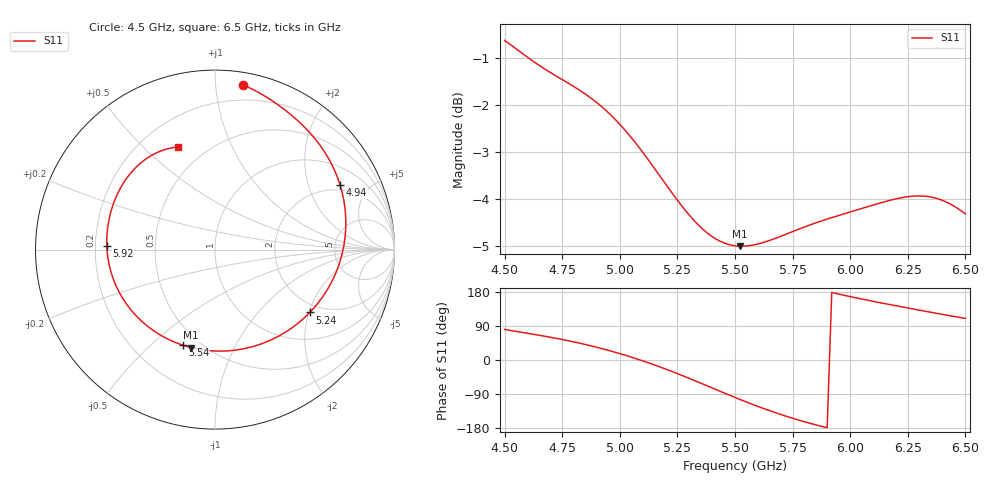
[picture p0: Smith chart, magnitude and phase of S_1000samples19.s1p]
! TOUCHSTONE file generated by CST MICROWAVE STUDIO
! Date and time: Wed Oct 26 17:24:18 2022
! Project name: L.cst
! Parameters = {Di=1.27; Epsilon_r=1.56; InnerDiameter=1.27; Length=2; Lf=10; Lg=60; OuterConductorThickness=0.2921; OuterDiameter=3.6; Wf=3; Wp=41.2; de=1.5; df=6.8; g=0.8; gx=4.74422; gy=1.73643; h=2.34; hf=1.524; px=13.6549; py=11.3673; w=9.7; wx=8.91071; wy=9.63084}
! Header version: 2018
! Port assignment regex: !\s*Touchstone port\s*([0-9]+)\s*=\s*(CST MWS port|CST DS port)\s*([0-9]+|Zmin|Zmax)\s*\(\"(.*)\"\)(\s*mode\s*([0-9]+))?.*
! Touchstone port assignment:
! Touchstone port 1 = CST MWS port 1 ("")
# GHz S DB R 50
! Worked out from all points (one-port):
!   101 points, 4.5 GHz to 6.5 GHz, reference 50 ohm
!   lowest |S11| = -5.0 dB at 5.52 GHz (marker M1), VSWR 3.57, Z = 21.6 - j34.5 ohm
!   |S11| at or under -10 dB: nowhere
!   S11 on the Smith chart (normalised r, x): 4.5 GHz: 0.09, +1.18; 4.94 GHz: 1.76, +3.26; 5.24 GHz: 1.73, -2.03; 5.54 GHz: 0.41, -0.64; 5.92 GHz: 0.25, +0.01; 6.5 GHz: 0.35, +0.64
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4.5  -0.62 80.5
4.64  -1.12 66.3
4.76  -1.48 52.9
4.86  -1.80 39.5
4.94  -2.11 27.2
5  -2.41 16.8
5.06  -2.75 5.6
5.12  -3.14 -6.6
5.18  -3.55 -19.7
5.24  -3.96 -33.5
5.26  -4.09 -38.3
5.32  -4.44 -53.1
5.38  -4.72 -68.3
5.44  -4.91 -83.7
5.5  -4.99 -98.8
5.52  -5.00 -103.7
5.54  -5.00 -108.6
5.6  -4.96 -122.6
5.66  -4.86 -135.8
5.7  -4.79 -144.0
5.76  -4.67 -155.6
5.84  -4.53 -169.4
5.92  -4.39 178.3
6  -4.27 167.2
6.14  -4.07 150.0
6.26  -3.94 136.2
6.38  -3.99 122.6
6.5  -4.31 110.0
